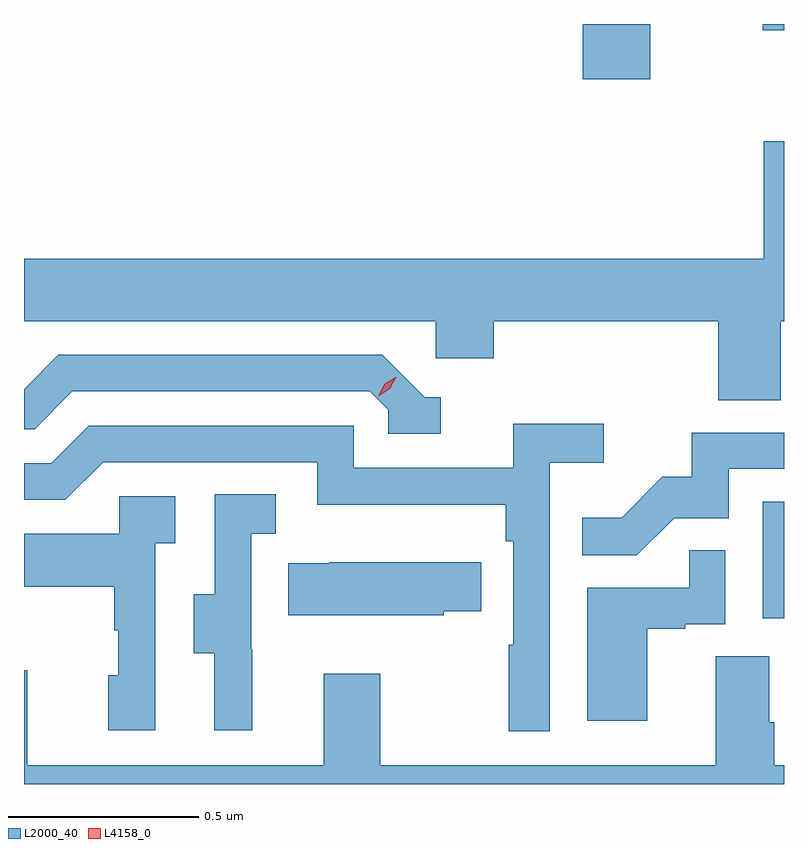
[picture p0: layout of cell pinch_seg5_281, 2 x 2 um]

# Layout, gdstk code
import gdstk
lib = gdstk.Library(unit=1e-6, precision=1e-09)
def R(c, l, rs):  # rectangles x0, y0, x1, y1
    for r in rs: c.add(gdstk.rectangle(r[:2], r[2:], *l))
def P(c, l, *ps):  # polygons
    for p in ps: c.add(gdstk.Polygon(p, *l))
L2000_40 = (2000, 40)
L4158_0 = (4158, 0)

pinch_seg5_281 = lib.new_cell('pinch_seg5_281')
R(pinch_seg5_281, L2000_40, [(912.614,902.598,912.67,902.905), (912.14,904.017,912.318,904.162), (912.614,904.145,912.67,904.162)])
P(pinch_seg5_281, L2000_40, [(912.662,903.38),(912.67,903.38),(912.67,903.853),(912.617,903.853),(912.617,903.544),(910.67,903.544),(910.67,903.38),(911.754,903.38),(911.754,903.282),(911.906,903.282),(911.906,903.38),(912.497,903.38),(912.497,903.172),(912.662,903.172)],
  [(911.767,903.18),(911.724,903.18),(911.613,903.291),(910.76,903.291),(910.67,903.201),(910.67,903.096),(910.698,903.096),(910.797,903.195),(911.58,903.195),(911.628,903.147),(911.628,903.084),(911.767,903.084)],
  [(912.054,903.008),(912.196,903.008),(912.196,903.11),(911.957,903.11),(911.957,902.994),(911.538,902.994),(911.538,903.105),(910.841,903.105),(910.742,903.006),(910.67,903.006),(910.67,902.91),(910.779,902.91),(910.878,903.009),(911.442,903.009),(911.442,902.897),(911.938,902.897),(911.938,902.801),(911.958,902.801),(911.958,902.528),(911.946,902.528),(911.946,902.301),(912.054,902.301)],
  [(912.381,902.862),(912.525,902.862),(912.525,902.991),(912.67,902.991),(912.67,903.087),(912.427,903.087),(912.427,902.97),(912.35,902.97),(912.243,902.863),(912.139,902.863),(912.139,902.764),(912.283,902.764)],
  [(911.27,902.517),(911.268,902.517),(911.268,902.821),(911.332,902.821),(911.332,902.924),(911.172,902.924),(911.172,902.661),(911.117,902.661),(911.117,902.506),(911.171,902.506),(911.171,902.304),(911.27,902.304)],
  [(911.016,902.795),(911.068,902.795),(911.068,902.919),(910.92,902.919),(910.92,902.821),(910.67,902.821),(910.67,902.681),(910.908,902.681),(910.908,902.567),(910.918,902.567),(910.918,902.448),(910.892,902.448),(910.892,902.304),(911.016,902.304)],
  [(912.31,902.571),(912.41,902.571),(912.41,902.583),(912.516,902.583),(912.516,902.777),(912.421,902.777),(912.421,902.679),(912.152,902.679),(912.152,902.328),(912.31,902.328)],
  [(911.775,902.617),(911.873,902.617),(911.873,902.746),(911.473,902.746),(911.473,902.743),(911.365,902.743),(911.365,902.606),(911.775,902.606)],
  [(912.67,902.212),(912.644,902.212),(912.644,902.324),(912.631,902.324),(912.631,902.498),(912.491,902.498),(912.491,902.212),(911.607,902.212),(911.607,902.452),(911.459,902.452),(911.459,902.212),(910.679,902.212),(910.679,902.461),(910.67,902.461),(910.67,902.162),(912.67,902.162)])
P(pinch_seg5_281, L4158_0, [(911.602,903.182),(911.602,903.183),(911.619,903.215),(911.649,903.234),(911.65,903.234),(911.65,903.234),(911.633,903.202),(911.603,903.182)])

lib.write_gds('pinch_seg5_281.gds')
